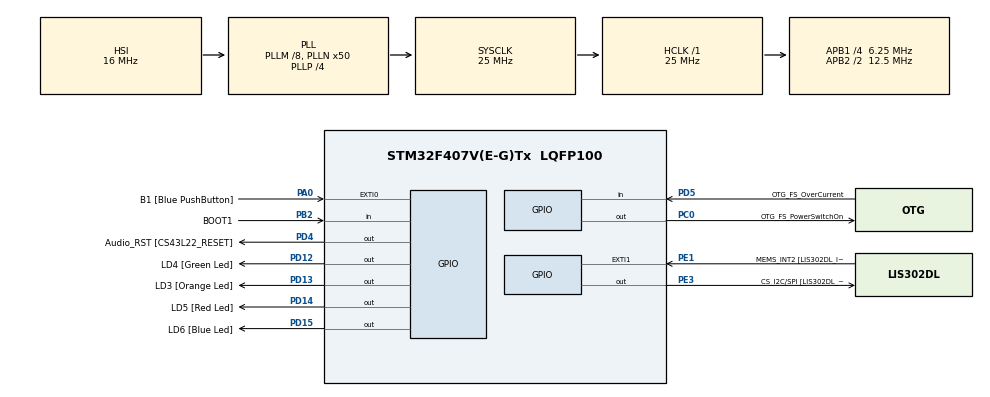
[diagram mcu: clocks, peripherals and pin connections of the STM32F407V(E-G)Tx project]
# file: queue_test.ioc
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FREERTOS.Tasks01=defaultTask,24,128,StartDefaultTask,Default,NULL,Dynamic,NULL,NULL
FREERTOS.configUSE_NEWLIB_REENTRANT=1
Mcu.Family=STM32F4
Mcu.Name=STM32F407V(E-G)Tx
Mcu.Package=LQFP100
NVIC.PriorityGroup=NVIC_PRIORITYGROUP_4
NVIC.TIM6_DAC_IRQn=true\:15\:0\:false\:false\:true\:false\:false\:true
NVIC.TimeBase=TIM6_DAC_IRQn
NVIC.TimeBaseIP=TIM6
PA0-WKUP.GPIO_Label=B1 [Blue PushButton]
PA0-WKUP.Signal=GPXTI0
PA10.GPIO_Label=OTG_FS_ID
PA10.GPIO_Mode=GPIO_MODE_AF_PP
PA10.GPIO_PuPd=GPIO_NOPULL
PA10.GPIO_Speed=GPIO_SPEED_FREQ_LOW
PA10.Signal=USB_OTG_FS_ID
PA11.GPIO_Label=OTG_FS_DM
PA11.GPIO_Mode=GPIO_MODE_AF_PP
PA11.GPIO_PuPd=GPIO_NOPULL
PA11.GPIO_Speed=GPIO_SPEED_FREQ_LOW
PA11.Signal=USB_OTG_FS_DM
PA12.GPIO_Label=OTG_FS_DP
PA12.GPIO_Mode=GPIO_MODE_AF_PP
PA12.GPIO_PuPd=GPIO_NOPULL
PA12.GPIO_Speed=GPIO_SPEED_FREQ_LOW
PA12.Signal=USB_OTG_FS_DP
PA13.GPIO_Label=SWDIO
PA13.Signal=SYS_JTMS-SWDIO
PA14.GPIO_Label=SWCLK
PA14.Signal=SYS_JTCK-SWCLK
PA4.GPIO_Label=I2S3_WS [CS43L22_LRCK]
PA4.GPIO_Mode=GPIO_MODE_AF_PP
PA4.GPIO_PuPd=GPIO_NOPULL
PA4.GPIO_Speed=GPIO_SPEED_FREQ_LOW
PA4.Signal=I2S3_WS
PA5.GPIO_Label=SPI1_SCK [LIS302DL_SCL/SPC]
PA5.GPIO_Mode=GPIO_MODE_AF_PP
PA5.GPIO_PuPd=GPIO_NOPULL
PA5.GPIO_Speed=GPIO_SPEED_FREQ_LOW
PA5.Signal=SPI1_SCK
PA6.GPIO_Label=SPI1_MISO [LIS302DL_SDO]
PA6.GPIO_Mode=GPIO_MODE_AF_PP
PA6.GPIO_PuPd=GPIO_NOPULL
PA6.GPIO_Speed=GPIO_SPEED_FREQ_LOW
PA6.Signal=SPI1_MISO
PA7.GPIO_Label=SPI1_MOSI [LIS302DL_SDA/SDI/SDO]
PA7.GPIO_Mode=GPIO_MODE_AF_PP
PA7.GPIO_PuPd=GPIO_NOPULL
PA7.GPIO_Speed=GPIO_SPEED_FREQ_LOW
PA7.Signal=SPI1_MOSI
PA9.GPIO_Label=VBUS_FS
PA9.GPIO_Mode=GPIO_MODE_INPUT
PA9.GPIO_PuPd=GPIO_NOPULL
PA9.Signal=USB_OTG_FS_VBUS
PB10.GPIO_Label=CLK_IN [MP45DT02_CLK]
PB10.GPIO_Mode=GPIO_MODE_AF_PP
PB10.GPIO_PuPd=GPIO_NOPULL
PB10.GPIO_Speed=GPIO_SPEED_FREQ_LOW
PB10.Signal=I2S2_CK
PB2.GPIO_Label=BOOT1
PB2.GPIO_Mode=GPIO_MODE_INPUT
PB2.GPIO_PuPd=GPIO_NOPULL
PB2.Signal=GPIO_Input
PB3.GPIO_Label=SWO
PB3.Signal=SYS_JTDO-SWO
PB6.GPIO_Label=Audio_SCL [CS43L22_SCL]
PB6.GPIO_Mode=GPIO_MODE_AF_OD
PB6.GPIO_PuPd=GPIO_NOPULL
PB6.GPIO_Speed=GPIO_SPEED_FREQ_LOW
PB6.Signal=I2C1_SCL
PB9.GPIO_Label=Audio_SDA [CS43L22_SDA]
PB9.GPIO_Mode=GPIO_MODE_AF_OD
PB9.GPIO_PuPd=GPIO_NOPULL
PB9.GPIO_Speed=GPIO_SPEED_FREQ_LOW
PB9.Signal=I2C1_SDA
PC0.GPIO_Label=OTG_FS_PowerSwitchOn
PC0.GPIO_PuPd=GPIO_NOPULL
PC0.GPIO_Speed=GPIO_SPEED_FREQ_LOW
PC0.PinState=GPIO_PIN_SET
PC0.Signal=GPIO_Output
PC10.GPIO_Label=I2S3_SCK [CS43L22_SCLK]
PC10.GPIO_Mode=GPIO_MODE_AF_PP
PC10.GPIO_PuPd=GPIO_NOPULL
PC10.GPIO_Speed=GPIO_SPEED_FREQ_LOW
PC10.Signal=I2S3_CK
PC12.GPIO_Label=I2S3_SD [CS43L22_SDIN]
PC12.GPIO_Mode=GPIO_MODE_AF_PP
PC12.GPIO_PuPd=GPIO_NOPULL
PC12.GPIO_Speed=GPIO_SPEED_FREQ_LOW
PC12.Signal=I2S3_SD
PC14-OSC32_IN.GPIO_Label=PC14-OSC32_IN
PC14-OSC32_IN.Signal=RCC_OSC32_IN
PC15-OSC32_OUT.GPIO_Label=PC15-OSC32_OUT
PC15-OSC32_OUT.Signal=RCC_OSC32_OUT
PC3.GPIO_Label=PDM_OUT [MP45DT02_DOUT]
PC3.GPIO_Mode=GPIO_MODE_AF_PP
PC3.GPIO_PuPd=GPIO_NOPULL
PC3.GPIO_Speed=GPIO_SPEED_FREQ_LOW
PC3.Signal=I2S2_SD
PC7.GPIO_Label=I2S3_MCK [CS43L22_MCLK]
PC7.GPIO_Mode=GPIO_MODE_AF_PP
PC7.GPIO_PuPd=GPIO_NOPULL
PC7.GPIO_Speed=GPIO_SPEED_FREQ_LOW
PC7.Signal=I2S3_MCK
PD12.GPIO_Label=LD4 [Green Led]
PD12.GPIO_PuPd=GPIO_NOPULL
PD12.GPIO_Speed=GPIO_SPEED_FREQ_LOW
PD12.Signal=GPIO_Output
PD13.GPIO_Label=LD3 [Orange Led]
PD13.GPIO_PuPd=GPIO_NOPULL
PD13.GPIO_Speed=GPIO_SPEED_FREQ_LOW
PD13.Signal=GPIO_Output
PD14.GPIO_Label=LD5 [Red Led]
PD14.GPIO_PuPd=GPIO_NOPULL
PD14.GPIO_Speed=GPIO_SPEED_FREQ_LOW
PD14.Signal=GPIO_Output
PD15.GPIO_Label=LD6 [Blue Led]
PD15.GPIO_PuPd=GPIO_NOPULL
PD15.GPIO_Speed=GPIO_SPEED_FREQ_LOW
PD15.Signal=GPIO_Output
PD4.GPIO_Label=Audio_RST [CS43L22_RESET]
PD4.GPIO_PuPd=GPIO_NOPULL
PD4.GPIO_Speed=GPIO_SPEED_FREQ_LOW
PD4.Signal=GPIO_Output
PD5.GPIO_Label=OTG_FS_OverCurrent
PD5.GPIO_Mode=GPIO_MODE_INPUT
PD5.GPIO_PuPd=GPIO_NOPULL
PD5.Signal=GPIO_Input
PE1.GPIO_Label=MEMS_INT2 [LIS302DL_INT2]
PE1.GPIO_ModeDefaultEXTI=GPIO_MODE_EVT_RISING
PE1.GPIO_PuPd=GPIO_NOPULL
PE1.Signal=GPXTI1
PE3.GPIO_Label=CS_I2C/SPI [LIS302DL_CS_I2C/SPI]
PE3.GPIO_PuPd=GPIO_NOPULL
PE3.GPIO_Speed=GPIO_SPEED_FREQ_LOW
PE3.Signal=GPIO_Output
PH0-OSC_IN.GPIO_Label=PH0-OSC_IN
PH0-OSC_IN.Signal=RCC_OSC_IN
PH1-OSC_OUT.GPIO_Label=PH1-OSC_OUT
PH1-OSC_OUT.Signal=RCC_OSC_OUT
ProjectManager.HeapSize=0x200
ProjectManager.StackSize=0x400
ProjectManager.TargetToolchain=STM32CubeIDE
RCC.48MHZClocksFreq_Value=14285714.285714285
RCC.AHBFreq_Value=25000000
RCC.APB1CLKDivider=RCC_HCLK_DIV4
RCC.APB1Freq_Value=6250000
RCC.APB1TimFreq_Value=12500000
RCC.APB2CLKDivider=RCC_HCLK_DIV2
RCC.APB2Freq_Value=12500000
RCC.APB2TimFreq_Value=25000000
RCC.CortexFreq_Value=25000000
RCC.HCLKFreq_Value=25000000
RCC.HSE_VALUE=8000000
RCC.HSI_VALUE=16000000
RCC.LSE_VALUE=32768
RCC.PLLM=8
RCC.PLLN=50
RCC.PLLP=RCC_PLLP_DIV4
RCC.PLLQ=7
RCC.SYSCLKFreq_VALUE=25000000
RCC.SYSCLKSource=RCC_SYSCLKSOURCE_PLLCLK
RCC.VCOOutputFreq_Value=100000000
VP_FREERTOS_VS_CMSIS_V2.Mode=CMSIS_V2
VP_SYS_VS_tim6.Mode=TIM6
board=STM32F407G-DISC1

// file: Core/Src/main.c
/* USER CODE BEGIN Header */
/**
  ******************************************************************************
  * @file           : main.c
  * @brief          : Main program body
  ******************************************************************************
  * @attention
  *
  * Copyright (c) 2022 STMicroelectronics.
  * All rights reserved.
  *
  * This software is licensed under terms that can be found in the LICENSE file
  * in the root directory of this software component.
  * If no LICENSE file comes with this software, it is provided AS-IS.
  *
  ******************************************************************************
  */
/* USER CODE END Header */
#include "main.h"
#include "cmsis_os.h"

/* USER CODE BEGIN Includes */
#include "queue.h"
/* USER CODE END Includes */

/* Definitions for defaultTask */
osThreadId_t defaultTaskHandle;
const osThreadAttr_t defaultTask_attributes = {
  .name = "defaultTask",
  .stack_size = 128 * 4,
  .priority = (osPriority_t) osPriorityNormal,
};
/* USER CODE BEGIN PV */
xTaskHandle task1_Handle,task2_Handle;
xQueueHandle queue1;

typedef struct {
	int task1_State;
	int task2_State;
	int inQueue1;
	int inQueue2;
} task_state;
task_state state;

int received_val=0,next_val=0;

/* USER CODE END PV */

void SystemClock_Config(void);
static void MX_GPIO_Init(void);
void StartDefaultTask(void *argument);
void task1(void* params);
void task2(void* params);
void reset_all_leds(void);

int main(void)
{

  /* MCU Configuration--------------------------------------------------------*/

  /* Reset of all peripherals, Initializes the Flash interface and the Systick. */
  HAL_Init();

  /* Configure the system clock */
  SystemClock_Config();

  /* Initialize all configured peripherals */
  MX_GPIO_Init();
  /* USER CODE BEGIN 2 */
  xTaskCreate(task1, "TASK-1", 500, NULL, 2, &task1_Handle);
  xTaskCreate(task2, "TASK-2", 500, NULL, 2, &task2_Handle);
  queue1=xQueueCreate(10,sizeof(uint32_t));

  state.task1_State=0;
  state.task1_State=0;
  state.inQueue1=0;
  state.inQueue2=0;

  vTaskStartScheduler();
  /* USER CODE END 2 */

  /* Init scheduler */
  osKernelInitialize();

  /* Create the thread(s) */
  /* creation of defaultTask */
  defaultTaskHandle = osThreadNew(StartDefaultTask, NULL, &defaultTask_attributes);

  /* Start scheduler */
  osKernelStart();

  /* We should never get here as control is now taken by the scheduler */
  /* Infinite loop */
  while (1)
  {

  }
}

void SystemClock_Config(void)
{
  RCC_OscInitTypeDef RCC_OscInitStruct = {0};
  RCC_ClkInitTypeDef RCC_ClkInitStruct = {0};

  /** Configure the main internal regulator output voltage
  */
  __HAL_RCC_PWR_CLK_ENABLE();
  __HAL_PWR_VOLTAGESCALING_CONFIG(PWR_REGULATOR_VOLTAGE_SCALE1);
  /** Initializes the RCC Oscillators according to the specified parameters
  * in the RCC_OscInitTypeDef structure.
  */
  RCC_OscInitStruct.OscillatorType = RCC_OSCILLATORTYPE_HSI;
  RCC_OscInitStruct.HSIState = RCC_HSI_ON;
  RCC_OscInitStruct.HSICalibrationValue = RCC_HSICALIBRATION_DEFAULT;
  RCC_OscInitStruct.PLL.PLLState = RCC_PLL_ON;
  RCC_OscInitStruct.PLL.PLLSource = RCC_PLLSOURCE_HSI;
  RCC_OscInitStruct.PLL.PLLM = 8;
  RCC_OscInitStruct.PLL.PLLN = 50;
  RCC_OscInitStruct.PLL.PLLP = RCC_PLLP_DIV4;
  RCC_OscInitStruct.PLL.PLLQ = 7;
  if (HAL_RCC_OscConfig(&RCC_OscInitStruct) != HAL_OK)
  {
    Error_Handler();
  }
  /** Initializes the CPU, AHB and APB buses clocks
  */
  RCC_ClkInitStruct.ClockType = RCC_CLOCKTYPE_HCLK|RCC_CLOCKTYPE_SYSCLK
                              |RCC_CLOCKTYPE_PCLK1|RCC_CLOCKTYPE_PCLK2;
  RCC_ClkInitStruct.SYSCLKSource = RCC_SYSCLKSOURCE_PLLCLK;
  RCC_ClkInitStruct.AHBCLKDivider = RCC_SYSCLK_DIV1;
  RCC_ClkInitStruct.APB1CLKDivider = RCC_HCLK_DIV4;
  RCC_ClkInitStruct.APB2CLKDivider = RCC_HCLK_DIV2;

  if (HAL_RCC_ClockConfig(&RCC_ClkInitStruct, FLASH_LATENCY_0) != HAL_OK)
  {
    Error_Handler();
  }
}

static void MX_GPIO_Init(void)
{
  GPIO_InitTypeDef GPIO_InitStruct = {0};

  /* GPIO Ports Clock Enable */
  __HAL_RCC_GPIOE_CLK_ENABLE();
  __HAL_RCC_GPIOC_CLK_ENABLE();
  __HAL_RCC_GPIOH_CLK_ENABLE();
  __HAL_RCC_GPIOA_CLK_ENABLE();
  __HAL_RCC_GPIOB_CLK_ENABLE();
  __HAL_RCC_GPIOD_CLK_ENABLE();

  /*Configure GPIO pin Output Level */
  HAL_GPIO_WritePin(CS_I2C_SPI_GPIO_Port, CS_I2C_SPI_Pin, GPIO_PIN_RESET);

  /*Configure GPIO pin Output Level */
  HAL_GPIO_WritePin(OTG_FS_PowerSwitchOn_GPIO_Port, OTG_FS_PowerSwitchOn_Pin, GPIO_PIN_SET);

  /*Configure GPIO pin Output Level */
  HAL_GPIO_WritePin(GPIOD, LD4_Pin|LD3_Pin|LD5_Pin|LD6_Pin
                          |Audio_RST_Pin, GPIO_PIN_RESET);

  /*Configure GPIO pin : CS_I2C_SPI_Pin */
  GPIO_InitStruct.Pin = CS_I2C_SPI_Pin;
  GPIO_InitStruct.Mode = GPIO_MODE_OUTPUT_PP;
  GPIO_InitStruct.Pull = GPIO_NOPULL;
  GPIO_InitStruct.Speed = GPIO_SPEED_FREQ_LOW;
  HAL_GPIO_Init(CS_I2C_SPI_GPIO_Port, &GPIO_InitStruct);

  /*Configure GPIO pin : OTG_FS_PowerSwitchOn_Pin */
  GPIO_InitStruct.Pin = OTG_FS_PowerSwitchOn_Pin;
  GPIO_InitStruct.Mode = GPIO_MODE_OUTPUT_PP;
  GPIO_InitStruct.Pull = GPIO_NOPULL;
  GPIO_InitStruct.Speed = GPIO_SPEED_FREQ_LOW;
  HAL_GPIO_Init(OTG_FS_PowerSwitchOn_GPIO_Port, &GPIO_InitStruct);

  /*Configure GPIO pin : PDM_OUT_Pin */
  GPIO_InitStruct.Pin = PDM_OUT_Pin;
  GPIO_InitStruct.Mode = GPIO_MODE_AF_PP;
  GPIO_InitStruct.Pull = GPIO_NOPULL;
  GPIO_InitStruct.Speed = GPIO_SPEED_FREQ_LOW;
  GPIO_InitStruct.Alternate = GPIO_AF5_SPI2;
  HAL_GPIO_Init(PDM_OUT_GPIO_Port, &GPIO_InitStruct);

  /*Configure GPIO pin : B1_Pin */
  GPIO_InitStruct.Pin = B1_Pin;
  GPIO_InitStruct.Mode = GPIO_MODE_IT_RISING;
  GPIO_InitStruct.Pull = GPIO_NOPULL;
  HAL_GPIO_Init(B1_GPIO_Port, &GPIO_InitStruct);

  /*Configure GPIO pin : I2S3_WS_Pin */
  GPIO_InitStruct.Pin = I2S3_WS_Pin;
  GPIO_InitStruct.Mode = GPIO_MODE_AF_PP;
  GPIO_InitStruct.Pull = GPIO_NOPULL;
  GPIO_InitStruct.Speed = GPIO_SPEED_FREQ_LOW;
  GPIO_InitStruct.Alternate = GPIO_AF6_SPI3;
  HAL_GPIO_Init(I2S3_WS_GPIO_Port, &GPIO_InitStruct);

  /*Configure GPIO pins : SPI1_SCK_Pin SPI1_MISO_Pin SPI1_MOSI_Pin */
  GPIO_InitStruct.Pin = SPI1_SCK_Pin|SPI1_MISO_Pin|SPI1_MOSI_Pin;
  GPIO_InitStruct.Mode = GPIO_MODE_AF_PP;
  GPIO_InitStruct.Pull = GPIO_NOPULL;
  GPIO_InitStruct.Speed = GPIO_SPEED_FREQ_LOW;
  GPIO_InitStruct.Alternate = GPIO_AF5_SPI1;
  HAL_GPIO_Init(GPIOA, &GPIO_InitStruct);

  /*Configure GPIO pin : BOOT1_Pin */
  GPIO_InitStruct.Pin = BOOT1_Pin;
  GPIO_InitStruct.Mode = GPIO_MODE_INPUT;
  GPIO_InitStruct.Pull = GPIO_NOPULL;
  HAL_GPIO_Init(BOOT1_GPIO_Port, &GPIO_InitStruct);

  /*Configure GPIO pin : CLK_IN_Pin */
  GPIO_InitStruct.Pin = CLK_IN_Pin;
  GPIO_InitStruct.Mode = GPIO_MODE_AF_PP;
  GPIO_InitStruct.Pull = GPIO_NOPULL;
  GPIO_InitStruct.Speed = GPIO_SPEED_FREQ_LOW;
  GPIO_InitStruct.Alternate = GPIO_AF5_SPI2;
  HAL_GPIO_Init(CLK_IN_GPIO_Port, &GPIO_InitStruct);

  /*Configure GPIO pins : LD4_Pin LD3_Pin LD5_Pin LD6_Pin
                           Audio_RST_Pin */
  GPIO_InitStruct.Pin = LD4_Pin|LD3_Pin|LD5_Pin|LD6_Pin
                          |Audio_RST_Pin;
  GPIO_InitStruct.Mode = GPIO_MODE_OUTPUT_PP;
  GPIO_InitStruct.Pull = GPIO_NOPULL;
  GPIO_InitStruct.Speed = GPIO_SPEED_FREQ_LOW;
  HAL_GPIO_Init(GPIOD, &GPIO_InitStruct);

  /*Configure GPIO pins : I2S3_MCK_Pin I2S3_SCK_Pin I2S3_SD_Pin */
  GPIO_InitStruct.Pin = I2S3_MCK_Pin|I2S3_SCK_Pin|I2S3_SD_Pin;
  GPIO_InitStruct.Mode = GPIO_MODE_AF_PP;
  GPIO_InitStruct.Pull = GPIO_NOPULL;
  GPIO_InitStruct.Speed = GPIO_SPEED_FREQ_LOW;
  GPIO_InitStruct.Alternate = GPIO_AF6_SPI3;
  HAL_GPIO_Init(GPIOC, &GPIO_InitStruct);

  /*Configure GPIO pin : VBUS_FS_Pin */
  GPIO_InitStruct.Pin = VBUS_FS_Pin;
  GPIO_InitStruct.Mode = GPIO_MODE_INPUT;
  GPIO_InitStruct.Pull = GPIO_NOPULL;
  HAL_GPIO_Init(VBUS_FS_GPIO_Port, &GPIO_InitStruct);

  /*Configure GPIO pins : OTG_FS_ID_Pin OTG_FS_DM_Pin OTG_FS_DP_Pin */
  GPIO_InitStruct.Pin = OTG_FS_ID_Pin|OTG_FS_DM_Pin|OTG_FS_DP_Pin;
  GPIO_InitStruct.Mode = GPIO_MODE_AF_PP;
  GPIO_InitStruct.Pull = GPIO_NOPULL;
  GPIO_InitStruct.Speed = GPIO_SPEED_FREQ_LOW;
  GPIO_InitStruct.Alternate = GPIO_AF10_OTG_FS;
  HAL_GPIO_Init(GPIOA, &GPIO_InitStruct);

  /*Configure GPIO pin : OTG_FS_OverCurrent_Pin */
  GPIO_InitStruct.Pin = OTG_FS_OverCurrent_Pin;
  GPIO_InitStruct.Mode = GPIO_MODE_INPUT;
  GPIO_InitStruct.Pull = GPIO_NOPULL;
  HAL_GPIO_Init(OTG_FS_OverCurrent_GPIO_Port, &GPIO_InitStruct);

  /*Configure GPIO pins : Audio_SCL_Pin Audio_SDA_Pin */
  GPIO_InitStruct.Pin = Audio_SCL_Pin|Audio_SDA_Pin;
  GPIO_InitStruct.Mode = GPIO_MODE_AF_OD;
  GPIO_InitStruct.Pull = GPIO_NOPULL;
  GPIO_InitStruct.Speed = GPIO_SPEED_FREQ_LOW;
  GPIO_InitStruct.Alternate = GPIO_AF4_I2C1;
  HAL_GPIO_Init(GPIOB, &GPIO_InitStruct);

  /*Configure GPIO pin : MEMS_INT2_Pin */
  GPIO_InitStruct.Pin = MEMS_INT2_Pin;
  GPIO_InitStruct.Mode = GPIO_MODE_EVT_RISING;
  GPIO_InitStruct.Pull = GPIO_NOPULL;
  HAL_GPIO_Init(MEMS_INT2_GPIO_Port, &GPIO_InitStruct);

}

/* USER CODE BEGIN 4 */
void task1(void* params){

	next_val=rand()%100;

	for(;;){
		state.task1_State++;
		if(xQueueSend(queue1,&next_val,0) == pdPASS){
			state.inQueue1++;
			next_val=rand()%100;
		vTaskDelay(1000);
		}
	}

}

void task2 (void* params){

	for(;;){
		state.task2_State++;
		if(xQueueReceive(queue1, &received_val, portMAX_DELAY)==pdPASS){
			state.inQueue2++;
			reset_all_leds();
			switch (received_val%4){
			case 0 : HAL_GPIO_WritePin(GPIOD, GPIO_PIN_12, GPIO_PIN_SET); break;
			case 1 : HAL_GPIO_WritePin(GPIOD, GPIO_PIN_13, GPIO_PIN_SET); break;
			case 2 : HAL_GPIO_WritePin(GPIOD, GPIO_PIN_14, GPIO_PIN_SET); break;
			case 3 : HAL_GPIO_WritePin(GPIOD, GPIO_PIN_15, GPIO_PIN_SET); break;

			}
			//vTaskDelay(500);
		}
	}
}

void reset_all_leds(void){
	HAL_GPIO_WritePin(GPIOD, GPIO_PIN_12, GPIO_PIN_RESET);
	HAL_GPIO_WritePin(GPIOD, GPIO_PIN_13, GPIO_PIN_RESET);
	HAL_GPIO_WritePin(GPIOD, GPIO_PIN_14, GPIO_PIN_RESET);
	HAL_GPIO_WritePin(GPIOD, GPIO_PIN_15, GPIO_PIN_RESET);
}
/* USER CODE END 4 */

void StartDefaultTask(void *argument)
{
  for(;;)
  {
    osDelay(1);
  }
}

void HAL_TIM_PeriodElapsedCallback(TIM_HandleTypeDef *htim)
{
  if (htim->Instance == TIM6) {
    HAL_IncTick();
  }
}

void Error_Handler(void)
{
  __disable_irq();
  while (1)
  {
  }
}
